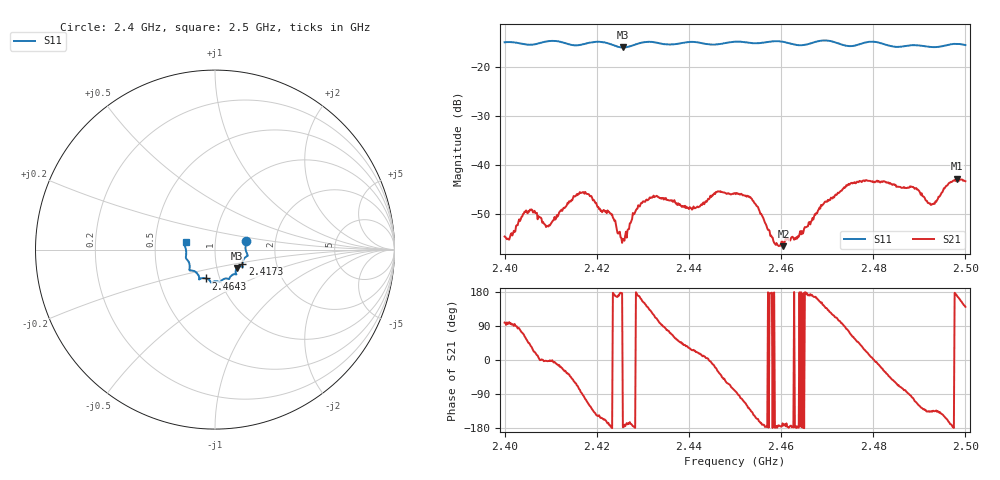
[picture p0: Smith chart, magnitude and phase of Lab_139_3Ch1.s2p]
# Hz S RI R 50
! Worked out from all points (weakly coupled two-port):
!   601 points, 2.4 GHz to 2.5 GHz, reference 50 ohm
!   highest |S21| = -42.72 dB at 2.4982 GHz (marker M1); lowest = -56.5 dB at 2.4605 GHz (marker M2)
!   lowest |S11| = -15.9 dB at 2.4257 GHz (marker M3), VSWR 1.38, Z = 62.4 - j13.1 ohm
!   |S11| at or under -10 dB: start of sweep to end of sweep
!   S12 and S22 are empty: the file has one direction only
!   S11 on the Smith chart (normalised r, x): 2.4 GHz: 1.41, +0.15; 2.4173 GHz: 1.34, -0.23; 2.4643 GHz: 0.86, -0.28; 2.5 GHz: 0.72, +0.06
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2.4e9  0.1733 0.0499  -0.000286 0.00185  0 0  0 0
2.4055e9  0.17 0.00696  0.00266 0.00232  0 0  0 0
2.4095e9  0.1828 -0.0312  0.00238 -0.000111  0 0  0 0
2.416667e9  0.1532 -0.0746  0.00034 -0.00523  0 0  0 0
2.417333e9  0.1526 -0.0821  -0.000792 -0.00507  0 0  0 0
2.422833e9  0.1462 -0.0938  -0.00322 -0.000493  0 0  0 0
2.425667e9  0.1223 -0.1025  -0.00177 -7.14e-05  0 0  0 0
2.4295e9  0.1169 -0.1339  -0.00381 0.00123  0 0  0 0
2.433333e9  0.1127 -0.1366  -0.00111 0.00459  0 0  0 0
2.440333e9  0.0791 -0.1638  0.00322 0.00179  0 0  0 0
2.45e9  0.0296 -0.1808  0.00073 -0.00514  0 0  0 0
2.4535e9  0.0139 -0.1767  -0.0033 -0.00323  0 0  0 0
2.458833e9  -0.0208 -0.184  -0.00154 -3.77e-05  0 0  0 0
2.4605e9  -0.0243 -0.1809  -0.00148 -0.000186  0 0  0 0
2.464333e9  -0.05 -0.1607  -0.00197 3.92e-05  0 0  0 0
2.466667e9  -0.0763 -0.1601  -0.0027 0.000366  0 0  0 0
2.474667e9  -0.1028 -0.1291  0.00156 0.00628  0 0  0 0
2.483333e9  -0.1412 -0.0894  0.00494 -0.0045  0 0  0 0
2.488833e9  -0.162 -0.0467  -0.00151 -0.0057  0 0  0 0
2.492833e9  -0.1602 -0.0157  -0.00291 -0.00278  0 0  0 0
2.498167e9  -0.1708 0.032  -0.00719 0.00132  0 0  0 0
2.5e9  -0.1637 0.0419  -0.00529 0.00439  0 0  0 0
